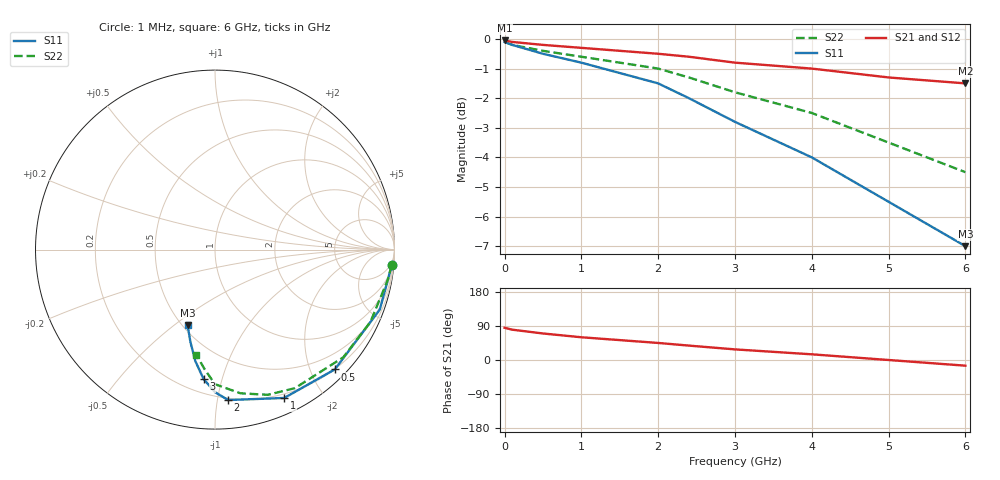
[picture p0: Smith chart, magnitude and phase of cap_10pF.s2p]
! # T062: Example files - Sample 10pF capacitor
! # Murata GRM155R71H103KA01 style 10pF capacitor
! # Frequency range: 1 MHz to 6 GHz
# Hz S DB R 50
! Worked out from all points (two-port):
!   10 points, 1 MHz to 6 GHz, reference 50 ohm
!   highest |S21| = -0.05 dB at 1 MHz (marker M1); lowest = -1.5 dB at 6 GHz (marker M2)
!   |S21| within 3 dB of the highest: start of sweep to end of sweep
!   lowest |S11| = -7.0 dB at 6 GHz (marker M3), VSWR 2.61, Z = 26.6 - j27.9 ohm
!   |S11| at or under -10 dB: nowhere
!   |S22| runs from -4.5 to -0.1 dB; largest |S21 - S12| = 0
!   S11 on the Smith chart (normalised r, x): 1 MHz: 3, -23; 500 MHz: 0.20, -2.40; 1 GHz: 0.16, -1.56; 2 GHz: 0.19, -1.07; 3 GHz: 0.29, -0.87; 6 GHz: 0.53, -0.56
1000000  -0.10 -5.0  -0.05 85.0  -0.05 85.0  -0.10 -5.0
1e8  -0.20 -20.0  -0.10 80.0  -0.10 80.0  -0.20 -10.0
5e8  -0.50 -45.0  -0.20 70.0  -0.20 70.0  -0.40 -25.0
1e9  -0.80 -65.0  -0.30 60.0  -0.30 60.0  -0.60 -40.0
2e9  -1.50 -85.0  -0.50 45.0  -0.50 45.0  -1.00 -60.0
2.4e9  -2.00 -90.0  -0.60 38.0  -0.60 38.0  -1.30 -70.0
3e9  -2.80 -95.0  -0.80 28.0  -0.80 28.0  -1.80 -80.0
4e9  -4.00 -100.0  -1.00 15.0  -1.00 15.0  -2.50 -90.0
5e9  -5.50 -105.0  -1.30 0.0  -1.30 0.0  -3.50 -95.0
6e9  -7.00 -110.0  -1.50 -15.0  -1.50 -15.0  -4.50 -100.0
